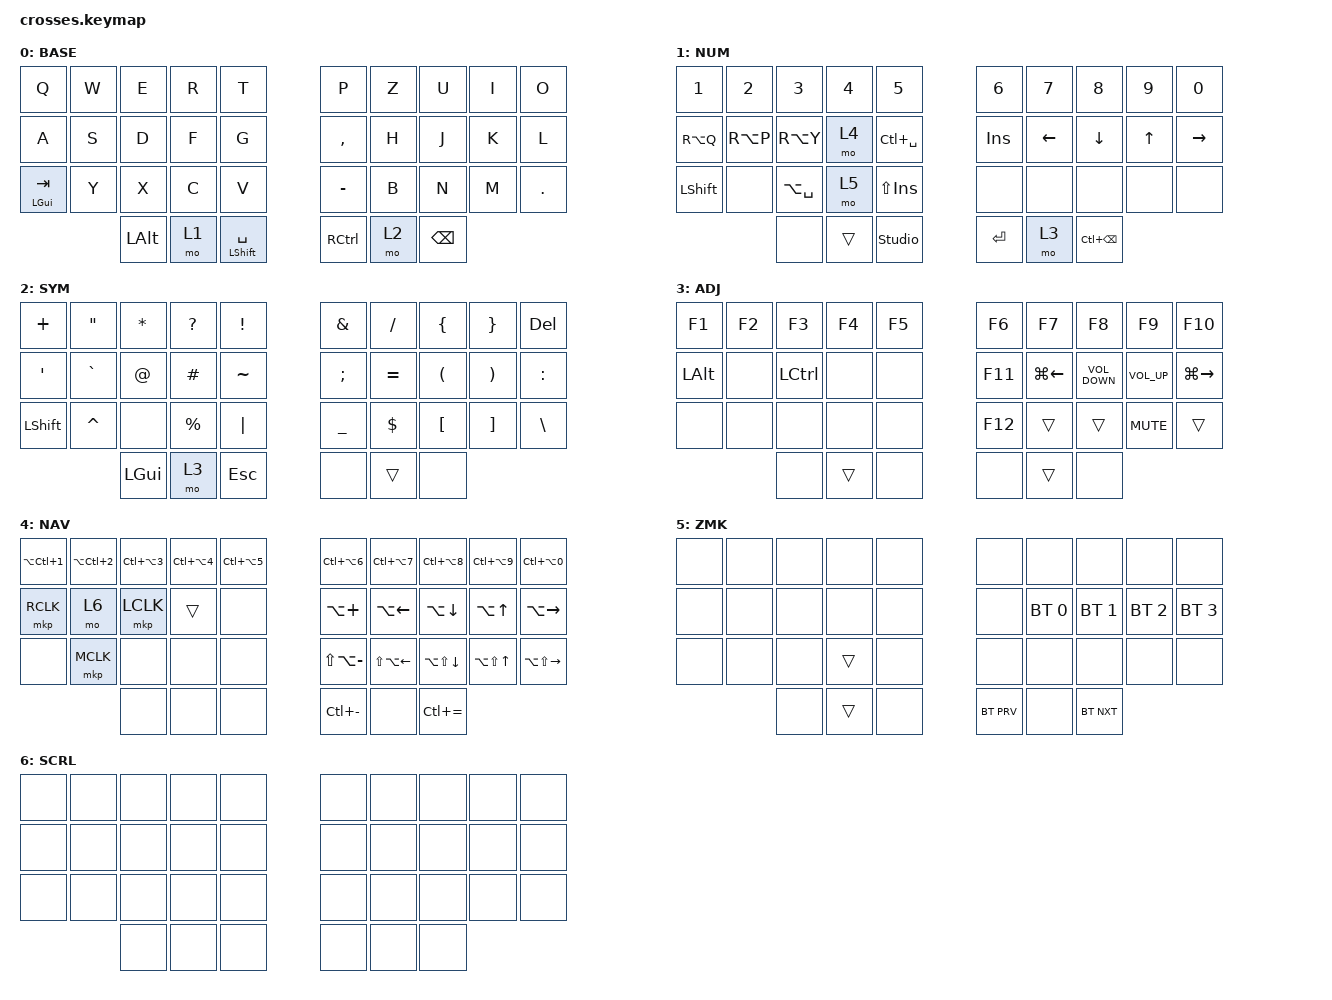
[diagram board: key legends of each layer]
#include <behaviors.dtsi>
#include <dt-bindings/zmk/bt.h>
#include <dt-bindings/zmk/keys.h>
#include <dt-bindings/zmk/pointing.h>

/ {
    chosen { zmk,physical-layout = &gggw_crosses_36_layout; };

    keymap {
        compatible = "zmk,keymap";

        base {
            display-name = "BASE";
            bindings = <
&kp Q           &kp W     &kp E     &kp R     &kp T       &kp P      &kp Z     &kp U     &kp I      &kp O
&kp A           &kp S     &kp D     &kp F     &kp G       &kp COMMA  &kp H     &kp J     &kp K      &kp L
&mt LGUI TAB    &kp Y     &kp X     &kp C     &kp V       &kp MINUS  &kp B     &kp N     &kp M      &kp PERIOD
                              &kp LALT  &mo 1    &mt LSHIFT SPACE  &kp RCTRL  &mo 2     &kp BACKSPACE
            >;
        };

        num {
            display-name = "NUM";
            bindings = <
&kp N1         &kp N2         &kp N3        &kp N4    &kp N5         &kp N6       &kp N7          &kp N8    &kp N9      &kp N0
&kp RA(Q)      &kp RA(P)      &kp RA(Y)     &mo 4     &kp LC(SPACE)  &kp INSERT   &kp LEFT        &kp DOWN  &kp UP_ARROW  &kp RIGHT
&kp LSHFT      &none          &kp LA(SPACE) &mo 5     &kp LS(INSERT) &none        &none           &none     &none       &none
                                &none          &trans      &studio_unlock   &kp RET   &mo 3       &kp LC(BACKSPACE)
            >;
        };

        sym {
            display-name = "SYM";
            bindings = <
&kp PLUS          &kp DOUBLE_QUOTES  &kp ASTERISK           &kp QUESTION           &kp EXCLAMATION  &kp AMPS      &kp SLASH             &kp LEFT_BRACE         &kp RIGHT_BRACE         &kp DELETE
&kp SINGLE_QUOTE  &kp GRAVE          &kp AT                 &kp HASH               &kp TILDE        &kp SEMI      &kp EQUAL             &kp LEFT_PARENTHESIS   &kp RIGHT_PARENTHESIS   &kp COLON
&kp LEFT_SHIFT    &kp CARET          &none                  &kp PERCENT            &kp PIPE         &kp UNDER     &kp DOLLAR            &kp LEFT_BRACKET       &kp RIGHT_BRACKET       &kp BACKSLASH
                                   &kp LGUI       &mo 3             &kp ESCAPE             &none            &trans               &none
            >;
        };

        adj {
            display-name = "ADJ";
            bindings = <
&kp F1      &kp F2   &kp F3     &kp F4     &kp F5          &kp F6      &kp F7                &kp F8            &kp F9           &kp F10
&kp LALT    &none    &kp LCTRL  &none      &none            &kp F11     &kp LG(LEFT)          &kp C_VOLUME_DOWN  &kp C_VOLUME_UP   &kp LG(RIGHT_ARROW)
&none       &none    &none      &none      &none            &kp F12     &trans                &trans            &kp K_MUTE       &trans
                         &none      &trans     &none             &none         &trans           &none
            >;
        };

        nav {
            display-name = "NAV";
            bindings = <
&kp LA(LC(N1))   &kp LA(LC(N2))       &kp LC(LA(N3))       &kp LC(LA(N4))    &kp LC(LA(N5))    &kp LC(LA(N6))      &kp LC(LA(N7))         &kp LC(LA(N8))      &kp LC(LA(N9))   &kp LC(LA(N0))
&mkp RCLK        &mo 6                &mkp LCLK            &trans            &none             &kp LA(PLUS)        &kp LA(LEFT)           &kp LA(DOWN)        &kp LA(UP)       &kp LA(RIGHT)
&none            &mkp MCLK            &none                &none             &none             &kp LS(LA(MINUS))   &kp LS(LA(LEFT_ARROW))  &kp LA(LS(DOWN))    &kp LA(LS(UP))   &kp LA(LS(RIGHT))
                                 &none              &none                &none                 &kp LC(MINUS)      &none               &kp LC(EQUAL)
            >;
        };

        ZMK {
            display-name = "ZMK";
            bindings = <
&none  &none  &none  &none   &none  &none       &none       &none       &none       &none
&none  &none  &none  &none   &none  &none       &bt BT_SEL 0  &bt BT_SEL 1  &bt BT_SEL 2  &bt BT_SEL 3
&none  &none  &none  &trans  &none  &none       &none       &none       &none       &none
              &none  &trans  &none   &bt BT_PRV  &none       &bt BT_NXT
            >;
        };

        Scroll {
            display-name = "SCRL";
            bindings = <
&none  &none  &none  &none  &none  &none  &none  &none  &none  &none
&none  &none  &none  &none  &none  &none  &none  &none  &none  &none
&none  &none  &none  &none  &none  &none  &none  &none  &none  &none
              &none  &none  &none  &none  &none  &none
            >;
        };
    };
};
